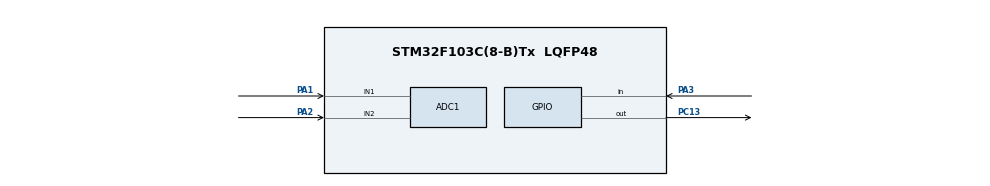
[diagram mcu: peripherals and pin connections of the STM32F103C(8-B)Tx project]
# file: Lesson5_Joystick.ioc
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ADC1.Channel-1\#ChannelRegularConversion=ADC_CHANNEL_1
ADC1.Channel-3\#ChannelRegularConversion=ADC_CHANNEL_2
ADC1.ContinuousConvMode=ENABLE
ADC1.NbrOfConversion=2
ADC1.NbrOfConversionFlag=1
ADC1.Rank-1\#ChannelRegularConversion=1
ADC1.Rank-3\#ChannelRegularConversion=2
ADC1.SamplingTime-1\#ChannelRegularConversion=ADC_SAMPLETIME_55CYCLES_5
ADC1.SamplingTime-3\#ChannelRegularConversion=ADC_SAMPLETIME_55CYCLES_5
ADC1.master=1
Dma.ADC1.0.Direction=DMA_PERIPH_TO_MEMORY
Dma.ADC1.0.Instance=DMA1_Channel1
Dma.ADC1.0.MemDataAlignment=DMA_MDATAALIGN_WORD
Dma.ADC1.0.MemInc=DMA_MINC_ENABLE
Dma.ADC1.0.Mode=DMA_CIRCULAR
Dma.ADC1.0.PeriphDataAlignment=DMA_PDATAALIGN_WORD
Dma.ADC1.0.PeriphInc=DMA_PINC_DISABLE
Dma.ADC1.0.Priority=DMA_PRIORITY_LOW
Dma.Request0=ADC1
Mcu.Family=STM32F1
Mcu.Name=STM32F103C(8-B)Tx
Mcu.Package=LQFP48
NVIC.ADC1_2_IRQn=true\:0\:0\:false\:false\:true\:true\:true\:true
NVIC.DMA1_Channel1_IRQn=true\:0\:0\:false\:false\:true\:false\:true\:true
NVIC.PriorityGroup=NVIC_PRIORITYGROUP_4
PA1.Signal=ADCx_IN1
PA13.Mode=Serial_Wire
PA13.Signal=SYS_JTMS-SWDIO
PA14.Mode=Serial_Wire
PA14.Signal=SYS_JTCK-SWCLK
PA2.Signal=ADCx_IN2
PA3.GPIO_PuPd=GPIO_PULLUP
PA3.Signal=GPIO_Input
PC13-TAMPER-RTC.GPIO_PuPd=GPIO_NOPULL
PC13-TAMPER-RTC.Signal=GPIO_Output
ProjectManager.HeapSize=0x200
ProjectManager.StackSize=0x400
ProjectManager.TargetToolchain=STM32CubeIDE
RCC.APB1Freq_Value=8000000
RCC.APB2Freq_Value=8000000
SH.ADCx_IN1.0=ADC1_IN1,IN1
SH.ADCx_IN2.0=ADC1_IN2,IN2
board=custom

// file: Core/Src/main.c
/* USER CODE BEGIN Header */
/**
 ******************************************************************************
 * @file           : main.c
 * @brief          : Main program body
 ******************************************************************************
 * @attention
 *
 * Copyright (c) 2026 STMicroelectronics.
 * All rights reserved.
 *
 * This software is licensed under terms that can be found in the LICENSE file
 * in the root directory of this software component.
 * If no LICENSE file comes with this software, it is provided AS-IS.
 *
 ******************************************************************************
 */
/* USER CODE END Header */
#include "main.h"

ADC_HandleTypeDef hadc1;
DMA_HandleTypeDef hdma_adc1;

/* USER CODE BEGIN PV */
uint32_t joystick_1, joystick_2, value[2];
uint8_t button;
/* USER CODE END PV */

void SystemClock_Config(void);
static void MX_GPIO_Init(void);
static void MX_DMA_Init(void);
static void MX_ADC1_Init(void);

/* USER CODE BEGIN 0 */

uint32_t MAP(uint32_t au32_IN, uint32_t au32_INmin, uint32_t au32_INmax,
		uint32_t au32_OUTmin, uint32_t au32_OUTmax) {
	return ((((au32_IN - au32_INmin) * (au32_OUTmax - au32_OUTmin))
			/ (au32_INmax - au32_INmin)) + au32_OUTmin);
}

void HAL_ADC_ConvCpltCallback(ADC_HandleTypeDef *hadc) {
	joystick_1 = MAP(value[0], 0, 4096, 0, 100); //2^12 bit
	joystick_2 = MAP(value[1], 0, 4096, 0, 100); // = 4096
}

/* USER CODE END 0 */

int main(void)
{

  /* MCU Configuration--------------------------------------------------------*/

  /* Reset of all peripherals, Initializes the Flash interface and the Systick. */
  HAL_Init();

  /* Configure the system clock */
  SystemClock_Config();

  /* Initialize all configured peripherals */
  MX_GPIO_Init();
  MX_DMA_Init();
  MX_ADC1_Init();
  /* USER CODE BEGIN 2 */
	HAL_ADC_Start_DMA(&hadc1, (uint32_t*) value, 2);

//	GPIO_InitTypeDef GPIO_InitStruct;
//	GPIO_InitStruct.Pin = GPIO_PIN_13;
//	GPIO_InitStruct.Mode = GPIO_MODE_OUTPUT_PP;
//	GPIO_InitStruct.Speed = GPIO_SPEED_FREQ_LOW;
//	HAL_GPIO_Init(GPIOC, &GPIO_InitStruct);
//	HAL_GPIO_WritePin(GPIOC, GPIO_PIN_13, GPIO_PIN_SET); // LED tắt ban đầu

  /* USER CODE END 2 */

  /* Infinite loop */
	while (1) {

    /* USER CODE BEGIN 3 */
		// Đọc giá trị nút nhấn ở PA3
//		HAL_GPIO_TogglePin(GPIOC, GPIO_PIN_13);
//				HAL_Delay(500);
		uint8_t button_state = HAL_GPIO_ReadPin(GPIOA, GPIO_PIN_3);

				// Debug: bạn có thể đặt breakpoint ở đây để xem button_state
				if (button_state == GPIO_PIN_RESET) {
					// Nếu nút nhấn nối GND khi nhấn
					HAL_GPIO_WritePin(GPIOC, GPIO_PIN_13, GPIO_PIN_RESET); // LED sáng
				} else {
					HAL_GPIO_WritePin(GPIOC, GPIO_PIN_13, GPIO_PIN_SET);   // LED tắt
				}
				HAL_Delay(50);
	}
  /* USER CODE END 3 */
}

void SystemClock_Config(void)
{
  RCC_OscInitTypeDef RCC_OscInitStruct = {0};
  RCC_ClkInitTypeDef RCC_ClkInitStruct = {0};
  RCC_PeriphCLKInitTypeDef PeriphClkInit = {0};

  /** Initializes the RCC Oscillators according to the specified parameters
  * in the RCC_OscInitTypeDef structure.
  */
  RCC_OscInitStruct.OscillatorType = RCC_OSCILLATORTYPE_HSI;
  RCC_OscInitStruct.HSIState = RCC_HSI_ON;
  RCC_OscInitStruct.HSICalibrationValue = RCC_HSICALIBRATION_DEFAULT;
  RCC_OscInitStruct.PLL.PLLState = RCC_PLL_NONE;
  if (HAL_RCC_OscConfig(&RCC_OscInitStruct) != HAL_OK)
  {
    Error_Handler();
  }

  /** Initializes the CPU, AHB and APB buses clocks
  */
  RCC_ClkInitStruct.ClockType = RCC_CLOCKTYPE_HCLK|RCC_CLOCKTYPE_SYSCLK
                              |RCC_CLOCKTYPE_PCLK1|RCC_CLOCKTYPE_PCLK2;
  RCC_ClkInitStruct.SYSCLKSource = RCC_SYSCLKSOURCE_HSI;
  RCC_ClkInitStruct.AHBCLKDivider = RCC_SYSCLK_DIV1;
  RCC_ClkInitStruct.APB1CLKDivider = RCC_HCLK_DIV1;
  RCC_ClkInitStruct.APB2CLKDivider = RCC_HCLK_DIV1;

  if (HAL_RCC_ClockConfig(&RCC_ClkInitStruct, FLASH_LATENCY_0) != HAL_OK)
  {
    Error_Handler();
  }
  PeriphClkInit.PeriphClockSelection = RCC_PERIPHCLK_ADC;
  PeriphClkInit.AdcClockSelection = RCC_ADCPCLK2_DIV2;
  if (HAL_RCCEx_PeriphCLKConfig(&PeriphClkInit) != HAL_OK)
  {
    Error_Handler();
  }
}

static void MX_ADC1_Init(void)
{

  ADC_ChannelConfTypeDef sConfig = {0};

  /** Common config
  */
  hadc1.Instance = ADC1;
  hadc1.Init.ScanConvMode = ADC_SCAN_ENABLE;
  hadc1.Init.ContinuousConvMode = ENABLE;
  hadc1.Init.DiscontinuousConvMode = DISABLE;
  hadc1.Init.ExternalTrigConv = ADC_SOFTWARE_START;
  hadc1.Init.DataAlign = ADC_DATAALIGN_RIGHT;
  hadc1.Init.NbrOfConversion = 2;
  if (HAL_ADC_Init(&hadc1) != HAL_OK)
  {
    Error_Handler();
  }

  /** Configure Regular Channel
  */
  sConfig.Channel = ADC_CHANNEL_1;
  sConfig.Rank = ADC_REGULAR_RANK_1;
  sConfig.SamplingTime = ADC_SAMPLETIME_55CYCLES_5;
  if (HAL_ADC_ConfigChannel(&hadc1, &sConfig) != HAL_OK)
  {
    Error_Handler();
  }

  /** Configure Regular Channel
  */
  sConfig.Channel = ADC_CHANNEL_2;
  sConfig.Rank = ADC_REGULAR_RANK_2;
  if (HAL_ADC_ConfigChannel(&hadc1, &sConfig) != HAL_OK)
  {
    Error_Handler();
  }

}

static void MX_DMA_Init(void)
{

  /* DMA controller clock enable */
  __HAL_RCC_DMA1_CLK_ENABLE();

  /* DMA interrupt init */
  /* DMA1_Channel1_IRQn interrupt configuration */
  HAL_NVIC_SetPriority(DMA1_Channel1_IRQn, 0, 0);
  HAL_NVIC_EnableIRQ(DMA1_Channel1_IRQn);

}

static void MX_GPIO_Init(void)
{
  GPIO_InitTypeDef GPIO_InitStruct = {0};

  /* GPIO Ports Clock Enable */
  __HAL_RCC_GPIOC_CLK_ENABLE();
  __HAL_RCC_GPIOA_CLK_ENABLE();

  /*Configure GPIO pin Output Level */
  HAL_GPIO_WritePin(GPIOC, GPIO_PIN_13, GPIO_PIN_RESET);

  /*Configure GPIO pin : PC13 */
  GPIO_InitStruct.Pin = GPIO_PIN_13;
  GPIO_InitStruct.Mode = GPIO_MODE_OUTPUT_PP;
  GPIO_InitStruct.Pull = GPIO_NOPULL;
  GPIO_InitStruct.Speed = GPIO_SPEED_FREQ_LOW;
  HAL_GPIO_Init(GPIOC, &GPIO_InitStruct);

  /*Configure GPIO pin : PA3 */
  GPIO_InitStruct.Pin = GPIO_PIN_3;
  GPIO_InitStruct.Mode = GPIO_MODE_INPUT;
  GPIO_InitStruct.Pull = GPIO_PULLDOWN;
  HAL_GPIO_Init(GPIOA, &GPIO_InitStruct);

}

void Error_Handler(void)
{
	__disable_irq();
	while (1) {
	}
}
